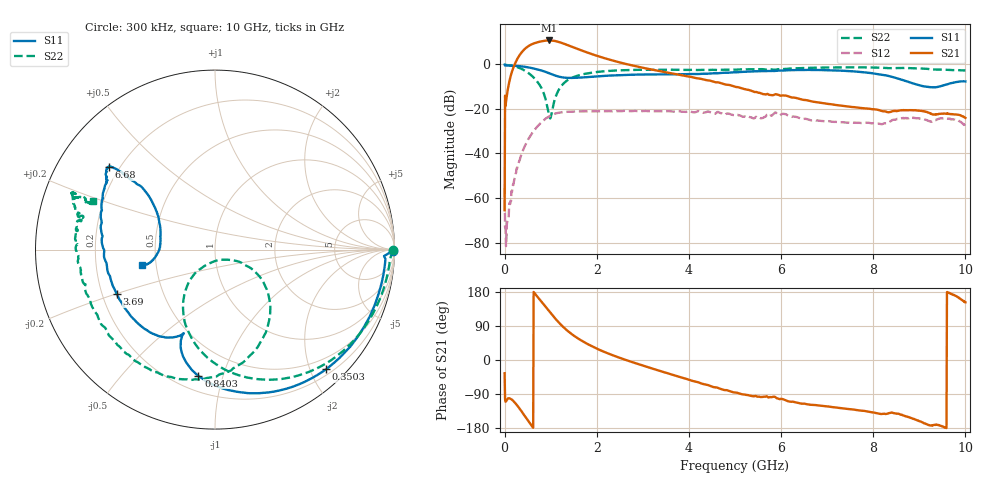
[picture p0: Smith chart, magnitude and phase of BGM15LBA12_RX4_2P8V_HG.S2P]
!Agilent Technologies,E5071C,MY46316587,B.13.01
!Date: Thu Dec 07 14:11:50 2017
!Data & Calibration Information:
!Freq	S11:SOLT2(ON)	S21:SOLT2(ON)	S12:SOLT2(ON)	S22:SOLT2(ON)
!PortZ  Port1:50+j0  Port2:50+j0
!Above PortZ is port z conversion or system Z0 setting when saving the data.
!When reading, reference impedance value at option line is always used.
# Hz S dB R 50
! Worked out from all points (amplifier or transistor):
!   1001 points, 300 kHz to 10 GHz, reference 50 ohm
!   highest |S21| = 10.8 dB at 970.3 MHz (marker M1)
!   |S21| within 3 dB of that: 486.2 MHz to 1.481 GHz (995.3 MHz wide, 101 % of centre)
!   unconditionally stable (mu >= 1): start of sweep to end of sweep
!   at 1.66 GHz: K = 1.45, MAG = 9.8 dB, |S12| = -21.1 dB
!   at 5 GHz: K = 5.47, MAG = -3.8 dB, |S12| = -23.0 dB
!   at 10 GHz: K = 75.10, MAG = -19.9 dB, |S12| = -27.8 dB
!   lowest NFmin = 1.06 dB at 750 MHz
!   S11 on the Smith chart (normalised r, x): 300 kHz: open; 350.3 MHz: 0.29, -2.26; 840.3 MHz: 0.30, -0.83; 3.69 GHz: 0.26, -0.20; 6.68 GHz: 0.16, +0.33; 10 GHz: 0.42, -0.09
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300000  -0.07 -0.4  -65.51 -34.9  -55.45 -129.2  -0.08 -0.1
6.02982e7  -0.46 -8.7  -12.39 -103.5  -70.55 83.7  -0.29 -11.5
2.102937e8  -0.60 -28.9  -0.40 -111.0  -51.79 160.1  -0.82 -38.4
3.502895e8  -0.82 -47.2  4.91 -132.4  -41.29 156.8  -1.82 -62.7
4.702859e8  -1.17 -61.8  7.52 -153.5  -35.40 145.6  -3.18 -82.1
6.102817e8  -1.72 -77.1  9.25 -177.1  -30.50 130.7  -5.46 -102.3
7.302781e8  -2.33 -88.5  10.08 164.2  -27.42 117.7  -8.29 -117.4
8.402748e8  -2.99 -97.5  10.52 148.1  -25.23 105.3  -12.43 -128.5
9.702709e8  -3.98 -105.7  10.77 128.5  -23.22 89.7  -23.22 -99.5
1.130266e9  -5.21 -110.4  10.33 105.1  -21.88 71.2  -13.37 -27.2
1.32026e9  -5.97 -110.7  9.06 81.8  -21.33 54.3  -7.81 -42.1
1.480256e9  -6.05 -110.6  7.78 66.3  -21.19 43.7  -5.85 -54.4
1.67025e9  -5.86 -111.3  6.29 51.0  -21.10 33.9  -4.54 -66.3
2.34023e9  -4.94 -120.7  1.80 12.9  -21.04 11.4  -2.82 -94.9
3.3402e9  -4.47 -144.6  -2.87 -27.6  -21.04 -14.0  -2.38 -124.2
3.690189e9  -4.42 -155.7  -4.27 -40.7  -21.16 -21.8  -2.40 -135.1
5.00015e9  -3.50 161.9  -10.00 -86.0  -23.01 -51.3  -2.35 -176.4
6.6701e9  -2.49 142.2  -16.66 -118.2  -25.17 -78.0  -1.50 160.1
6.6801e9  -2.49 142.2  -16.69 -118.3  -25.13 -78.0  -1.49 160.0
8.34005e9  -5.21 139.6  -21.47 -140.3  -25.97 -82.8  -1.68 158.7
9.250022e9  -10.23 170.2  -22.02 -172.6  -25.66 -123.4  -2.18 158.4
1e10  -7.63 -168.1  -24.02 152.2  -27.83 -168.6  -2.72 158.4
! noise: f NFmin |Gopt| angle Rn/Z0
6.5e+08  1.193  0.462  60.2  0.3303
7e+08  1.096  0.4942  65.82  0.2726
7.5e+08  1.058  0.5098  67.48  0.2374
8e+08  1.076  0.5348  71.05  0.2334
8.5e+08  1.082  0.5112  76.64  0.2207
9e+08  1.116  0.4986  76.81  0.2273
9.5e+08  1.132  0.5425  84.18  0.25
1e+09  1.166  0.443  84.42  0.2127
